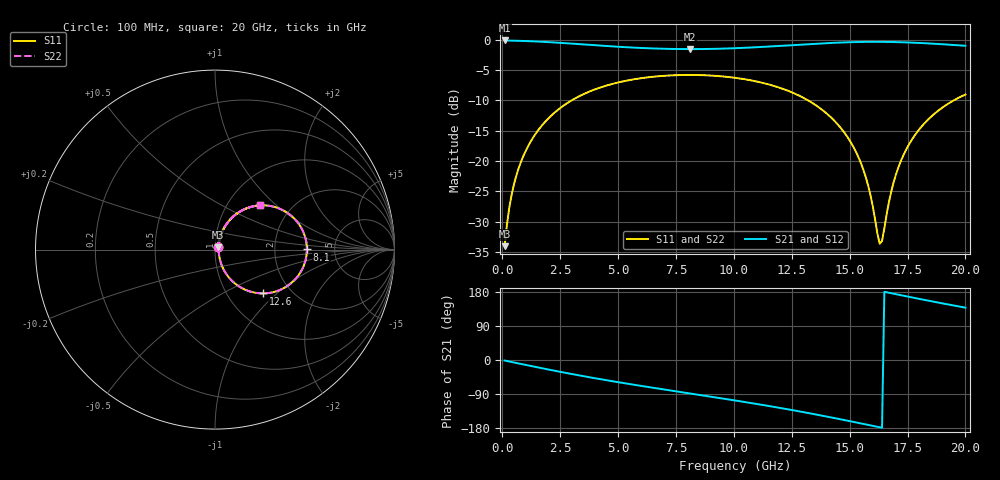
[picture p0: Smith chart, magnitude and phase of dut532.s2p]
! Touchstone file exported from HFSS 2026.1.0
!  File:  C:/ffzhzh/LocalFiles/Ansys_Project_Files/temp_train_TSV_RDL_532_1783112268_50312.aedt
!  Generated:  05:08:28 AM Jul  4, 2026
!  Design:  TSV_RDL
!  Project:  temp_train_TSV_RDL_532_1783112268_50312
! Variables:
!  h_bsmrdl = 4.32um
!  h_ox = 20um
!  h_rdl = 5um
!  h_sub = 81.63um
!  h_tmrdl = 3.46um
!  h_tsv = 81.63um
!  h_via = 3um
!  l_bsmrdl = 345.98um
!  l_sub = 3569.08um
!  l_tmrdl = 502.5um
!  m_sub = 200um
!  pitch = 52.2um
!  r_tsv = 11.62um
!  s_tmrdl = 10um
!  w_bsmrdl = 14.3um
!  w_sub = 500um
!  w_tmrdl = 26.08um
!  x_tsv_center1 = 515.54um
!  x_tsv_center2 = 875.82um
!  x_tsv_center3 = 1404.4um
!  x_tsv_center4 = 1764.68um
!  x_tsv_center5 = 2293.26um
!  x_tsv_center6 = 2653.54um
# GHz S MA R 50.000000
! Terminal data exported
! Port[1] = TM_RDL1_1_T1
! Port[2] = TM_RDL5_1_T1
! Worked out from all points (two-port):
!   200 points, 100 MHz to 20 GHz, reference 50 ohm
!   highest |S21| = -0.13 dB at 100 MHz (marker M1); lowest = -1.6 dB at 8.1 GHz (marker M2)
!   |S21| within 3 dB of the highest: start of sweep to end of sweep
!   lowest |S11| = -34.0 dB at 100 MHz (marker M3), VSWR 1.04, Z = 51.5 + j1.3 ohm
!   |S11| at or under -10 dB: start of sweep to 3.001 GHz; 13.2 GHz to 19.5 GHz (6.3 GHz wide, 38.5 % of centre)
!   |S22| runs from -34.0 to -5.8 dB; largest |S21 - S12| = 1.7e-14
!   S11 on the Smith chart (normalised r, x): 100 MHz: 1.03, +0.03; 8.1 GHz: 3.10, +0.00; 12.6 GHz: 1.46, -0.82; 20 GHz: 1.41, +0.80
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0.1  0.01986 39.2  0.9848 -1.3  0.9848 -1.3  0.01986 39.2
! Gamma 0 0 0 0
! Port Impedance 50 0 50 0
0.3  0.04097 63.0  0.9829 -4.0  0.9829 -4.0  0.04096 63.0
0.5  0.06376 67.8  0.9806 -6.5  0.9806 -6.5  0.06376 67.9
1.1  0.1309 67.5  0.9727 -14.1  0.9727 -14.1  0.1309 67.5
2.1  0.2352 58.6  0.9518 -26.5  0.9518 -26.5  0.2352 58.6
3.5  0.3549 44.0  0.9134 -42.6  0.9134 -42.6  0.3549 44.0
5  0.4436 28.8  0.8738 -58.5  0.8738 -58.5  0.4436 28.8
6.8  0.5006 11.8  0.8429 -76.1  0.8429 -76.1  0.5006 11.8
8.1  0.512 0.1  0.8358 -88.2  0.8358 -88.2  0.512 0.1
10.1  0.4835 -18.2  0.8507 -107.2  0.8507 -107.2  0.4835 -18.2
12.6  0.3614 -42.5  0.903 -133.0  0.903 -133.0  0.3614 -42.5
13.4  0.3 -50.6  0.9223 -142.1  0.9223 -142.1  0.3 -50.6
14.5  0.1989 -61.4  0.9449 -155.1  0.9449 -155.1  0.199 -61.4
15.3  0.1161 -66.8  0.9557 -165.0  0.9557 -165.0  0.1161 -66.8
15.8  0.06279 -64.0  0.959 -171.3  0.959 -171.3  0.06278 -64.0
16.3  0.02077 -8.7  0.9594 -177.5  0.9594 -177.5  0.02069 -8.8
16.4  0.02191 20.4  0.9591 -178.8  0.9591 -178.8  0.02182 20.4
16.7  0.04609 59.5  0.9576 177.4  0.9576 177.4  0.04604 59.6
17.2  0.09853 67.8  0.9527 171.2  0.9527 171.2  0.0985 67.9
17.8  0.1613 65.3  0.9435 163.8  0.9435 163.8  0.1613 65.3
18.7  0.2485 57.3  0.9242 153.0  0.9242 153.0  0.2485 57.4
20  0.353 44.4  0.8908 138.2  0.8908 138.2  0.353 44.4
